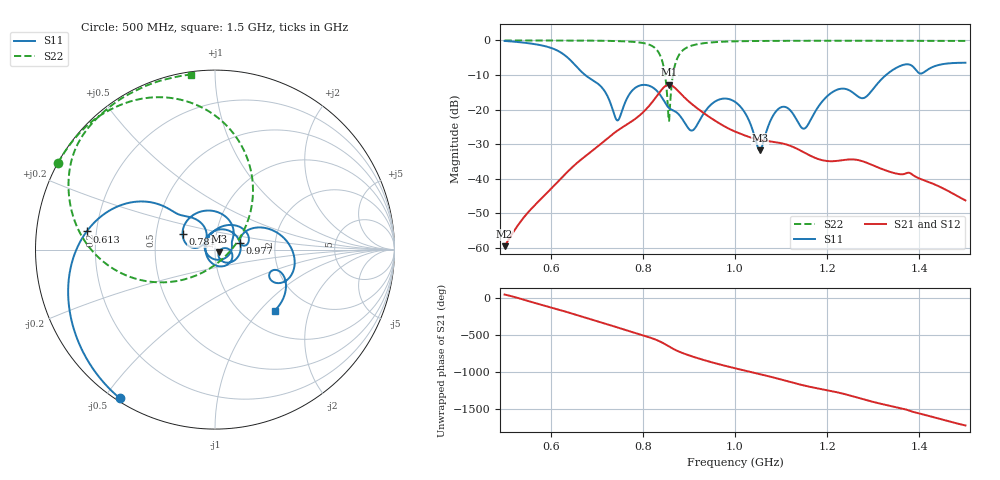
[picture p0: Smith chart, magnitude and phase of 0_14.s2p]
! TOUCHSTONE file generated by CST MICROWAVE STUDIO
! Date and time: Mon Sep 28 14:08:12 2020
! Project name: Scenario_1_Free_SPace.cst
! Parameters = {dx1=398.4; L_HA=400; MT=2.54; Rad_Dielectric=30; Rad_Lower=7.3; Rad_Upper=30; a_HA=580; a_WG=246; b_HA=500; b_WG=121; c_HA=0; c_WG=187; d_feed=85; h_feed=15; h_lower=18; h_upper=40}
! Header version: 2018
! Port assignment regex: !\s*Touchstone port\s*([0-9]+)\s*=\s*(CST MWS port|CST DS port)\s*([0-9]+|Zmin|Zmax)\s*\(\"(.*)\"\)(\s*mode\s*([0-9]+))?.*
! Touchstone port assignment:
! Touchstone port 1 = CST MWS port 1 ("")
! Touchstone port 2 = CST MWS port 2 ("")
# GHz S DB R 50
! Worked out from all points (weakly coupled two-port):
!   1003 points, 500 MHz to 1.5 GHz, reference 50 ohm
!   highest |S21| = -12.81 dB at 857 MHz (marker M1); lowest = -59.5 dB at 500 MHz (marker M2)
!   lowest |S11| = -31.8 dB at 1.054 GHz (marker M3), VSWR 1.05, Z = 52.4 - j1.16 ohm
!   |S11| at or under -10 dB: 674.8 MHz to 1.328 GHz (653 MHz wide, 65.2 % of centre)
!   |S22| runs from -23.3 to 0.0 dB; largest |S21 - S12| = 4.3e-06
!   S11 on the Smith chart (normalised r, x): 500 MHz: 0.01, -0.55; 613 MHz: 0.16, +0.07; 781 MHz: 0.68, +0.12; 977 MHz: 1.32, +0.10; 1.5 GHz: 1.38, -1.21
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0.5  -0.15 -122.7  -59.51 52.5  -59.51 52.5  -0.01 151.2
0.567  -1.10 -156.6  -47.46 -64.6  -47.46 -64.6  -0.01 146.6
0.613  -2.83 171.9  -41.23 -144.9  -41.23 -144.9  -0.02 143.1
0.667  -9.08 138.9  -34.35 114.0  -34.35 114.0  -0.04 138.3
0.714  -14.08 121.9  -29.33 26.0  -29.33 26.0  -0.10 133.0
0.744  -23.10 142.8  -26.17 -33.3  -26.17 -33.3  -0.19 128.4
0.781  -13.98 154.7  -22.93 -105.4  -22.93 -105.4  -0.43 120.1
0.834  -15.12 60.4  -15.43 143.2  -15.43 143.2  -3.42 82.8
0.857  -19.56 26.0  -12.81 66.0  -12.81 66.0  -23.25 -63.5
0.868  -20.38 8.8  -13.53 27.6  -13.53 27.6  -8.05 -153.0
0.884  -22.41 -35.3  -15.66 -17.6  -15.66 -17.6  -3.21 179.9
0.908  -26.02 -145.4  -18.59 -70.9  -18.59 -70.8  -1.42 162.2
0.977  -16.81 14.6  -24.84 165.7  -24.84 165.7  -0.35 143.7
1  -17.76 -23.4  -26.35 130.4  -26.35 130.4  -0.25 140.2
1.054  -31.76 -25.3  -28.74 50.1  -28.74 50.1  -0.16 133.9
1.097  -19.54 -23.7  -29.64 -17.5  -29.64 -17.5  -0.13 129.9
1.148  -25.52 -171.2  -32.27 -101.6  -32.27 -101.6  -0.10 125.7
1.167  -22.27 116.6  -33.57 -128.2  -33.57 -128.2  -0.09 124.2
1.214  -14.74 45.2  -34.93 173.6  -34.93 173.6  -0.08 120.5
1.28  -16.63 19.1  -35.09 65.6  -35.09 65.6  -0.09 115.5
1.334  -9.33 18.0  -37.91 -18.3  -37.91 -18.3  -0.09 111.4
1.5  -6.45 -45.8  -46.28 72.5  -46.27 72.5  -0.14 97.8
